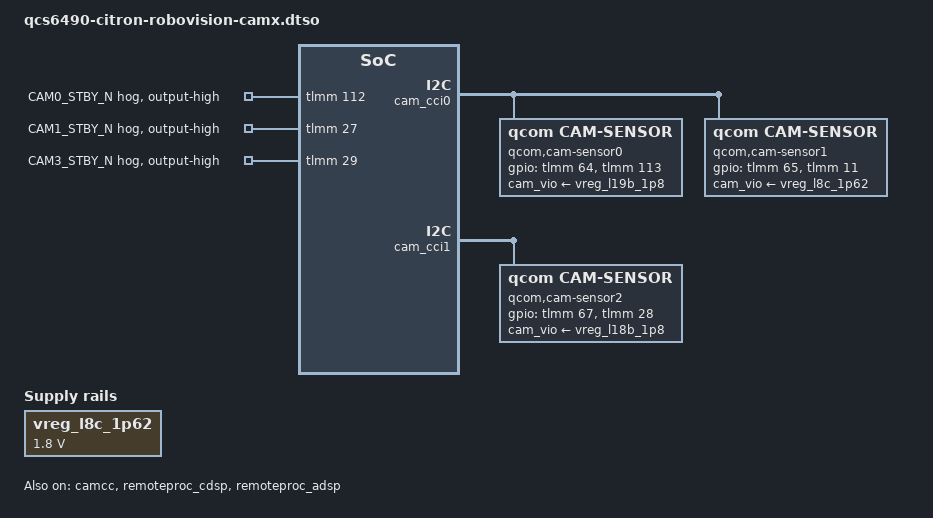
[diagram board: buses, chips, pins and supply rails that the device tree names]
// SPDX-License-Identifier: BSD-3-Clause
/*
 * Downstream CAMX (Spectra) pipeline for robovision. Sensor models come from the
 * userspace CAMX library, not DT, so every sensor is just "qcom,cam-sensor".
 *
 *   conn  sensor  CSIPHY  CCI master     MCLK  RST  STBY  rail
 *   CSI0  IMX577  0       cci0 master 0  64    113  112   vreg_l19b_1p8
 *   CSI1  OV9282  1       cci0 master 1  65    11   27    vreg_l8c
 *   CSI2  -
 *   CSI3  IMX477  3       cci1 master 1  67    28   29    vreg_l18b_1p8
 *
 * IMX477 still needs a camxlib imx477 module, which does not ship yet.
 * The SoC-common CAMX stack comes from qcs6490-camera.dtsi.
 */

/dts-v1/;
/plugin/;

#include <dt-bindings/clock/qcom,camcc-sc7280.h>
#include <dt-bindings/clock/qcom,gcc-sc7280.h>
#include <dt-bindings/gpio/gpio.h>
#include <dt-bindings/interconnect/qcom,sc7280.h>
#include <dt-bindings/interrupt-controller/arm-gic.h>
/* cam_cpas vdd-corners need RPMH_REGULATOR_LEVEL_*; an overlay compiles standalone,
 * so it cannot inherit the include through sc7280.dtsi. */
#include <dt-bindings/power/qcom,rpmhpd.h>

/* Camera clock controller; disabled on the SOM (qcs6490-citron-som.dtsi). */
&camcc {
	status = "okay";
};

/* Free the camera hardware from the mainline drivers; CAMX owns cci/csiphy/isp. */
&camss {
	status = "disabled";
};

&cci0 {
	status = "disabled";
};

/* CSI3 uses the CAMX cam_cci1, so free the mainline cci1 too. */
&cci1 {
	status = "disabled";
};

/*
 * CAMX offloads to the CDSP and its sensor stack uses the ADSP, both of which the
 * minimized SOM dtsi disables.
 */
&remoteproc_cdsp {
	firmware-name = "qcom/qcm6490/cdsp.mbn";
	status = "okay";
};

&remoteproc_adsp {
	firmware-name = "qcom/qcm6490/adsp.mbn";
	status = "okay";
};

/* Downstream CAMX SoC camera stack. */
#include "qcs6490-camera.dtsi"

/* CAMX runs its IQ nodes on the GPU. */
#include "qcs6490-gpu.dtsi"

/*
 * cam_res_mgr_gpio_request() dereferences this driver's global unconditionally, so
 * the node must exist or sensor open panics. No shared pins here, so a bare node.
 */
&soc {
	qcom,cam-res-mgr {
		compatible = "qcom,cam-res-mgr";
		status = "ok";
	};
};

/* MCLK0 already matches the SoC template; reset and STBY move to this board's pins. */
&cam_sensor_active_rst0 {
	mux {
		pins = "gpio113";
	};

	config {
		pins = "gpio113";
	};
};

&cam_sensor_suspend_rst0 {
	mux {
		pins = "gpio113";
	};

	config {
		pins = "gpio113";
	};
};

/* MCLK1 and the CCI0 master-1 pins already match the template; reset/STBY move. */
&cam_sensor_active_rst1 {
	mux {
		pins = "gpio11";
	};

	config {
		pins = "gpio11";
	};
};

&cam_sensor_suspend_rst1 {
	mux {
		pins = "gpio11";
	};

	config {
		pins = "gpio11";
	};
};

/* MCLK3 and the cci1 bus-3 pins already match the template; reset/STBY move. */
&cam_sensor_active_rst3 {
	mux {
		pins = "gpio28";
	};

	config {
		pins = "gpio28";
	};
};

&cam_sensor_suspend_rst3 {
	mux {
		pins = "gpio28";
	};

	config {
		pins = "gpio28";
	};
};

&tlmm {
	cam0_pwdn_hog: cam0-pwdn-hog {
		gpio-hog;
		gpios = <112 GPIO_ACTIVE_HIGH>;
		output-high;
		line-name = "CAM0_STBY_N";
	};

	/* No standby control on the module, so park STBY/PDN de-asserted. */
	cam1_pwdn_hog: cam1-pwdn-hog {
		gpio-hog;
		gpios = <27 GPIO_ACTIVE_HIGH>;
		output-high;
		line-name = "CAM1_STBY_N";
	};

	/* Likewise. */
	cam3_pwdn_hog: cam3-pwdn-hog {
		gpio-hog;
		gpios = <29 GPIO_ACTIVE_HIGH>;
		output-high;
		line-name = "CAM3_STBY_N";
	};
};

/* ov9282 enables supplies without setting a voltage; pin L8C to 1.8V. */
&vreg_l8c_1p62 {
	regulator-min-microvolt = <1800000>;
	regulator-max-microvolt = <1800000>;
};


&cam_cci0 {
	qcom,cam-sensor0 {
		cell-index = <0>;
		compatible = "qcom,cam-sensor";
		csiphy-sd-index = <0>;
		sensor-position-roll = <0>;
		sensor-position-pitch = <0>;
		sensor-position-yaw = <180>;

		/* Without the titan_top GDSC the MCLK branch gate is unpowered (rc -16). */
		power-domains = <&camcc CAM_CC_TITAN_TOP_GDSC>;

		/* Module self-regulates off one 1.8V rail. */
		cam_vio-supply = <&vreg_l19b_1p8>;
		regulator-names = "cam_vio";
		rgltr-cntrl-support;
		rgltr-min-voltage = <1800000>;
		rgltr-max-voltage = <1800000>;
		rgltr-load-current = <120000>;

		gpio-no-mux = <0>;
		pinctrl-names = "cam_default", "cam_suspend";
		pinctrl-0 = <&cam_sensor_mclk0_active &cam_sensor_active_rst0>;
		pinctrl-1 = <&cam_sensor_mclk0_suspend &cam_sensor_suspend_rst0>;
		gpios = <&tlmm 64 0>, <&tlmm 113 0>;
		gpio-reset = <1>;
		gpio-req-tbl-num = <0 1>;
		gpio-req-tbl-flags = <1 0>;
		gpio-req-tbl-label = "CAMIF_MCLK0", "CAM_RESET0";

		sensor-mode = <0>;
		cci-master = <0>;
		clocks = <&camcc CAM_CC_MCLK0_CLK>;
		clock-names = "cam_clk";
		clock-cntl-level = "nominal";
		clock-rates = <24000000>;

		status = "ok";
	};

	qcom,cam-sensor1 {
		cell-index = <1>;
		compatible = "qcom,cam-sensor";
		csiphy-sd-index = <1>;
		sensor-position-roll = <0>;
		sensor-position-pitch = <0>;
		sensor-position-yaw = <0>;

		/* Same GDSC reason as CSI0. */
		power-domains = <&camcc CAM_CC_TITAN_TOP_GDSC>;

		/* Module self-regulates off one 1.8V rail. */
		cam_vio-supply = <&vreg_l8c_1p62>;
		regulator-names = "cam_vio";
		rgltr-cntrl-support;
		rgltr-min-voltage = <1800000>;
		rgltr-max-voltage = <1800000>;
		rgltr-load-current = <120000>;

		gpio-no-mux = <0>;
		pinctrl-names = "cam_default", "cam_suspend";
		pinctrl-0 = <&cam_sensor_mclk1_active &cam_sensor_active_rst1>;
		pinctrl-1 = <&cam_sensor_mclk1_suspend &cam_sensor_suspend_rst1>;
		gpios = <&tlmm 65 0>, <&tlmm 11 0>;
		gpio-reset = <1>;
		gpio-req-tbl-num = <0 1>;
		gpio-req-tbl-flags = <1 0>;
		gpio-req-tbl-label = "CAMIF_MCLK1", "CAM_RESET1";

		sensor-mode = <0>;
		cci-master = <1>;
		clocks = <&camcc CAM_CC_MCLK1_CLK>;
		clock-names = "cam_clk";
		clock-cntl-level = "nominal";
		clock-rates = <24000000>;

		status = "ok";
	};
};


&cam_cci1 {
	qcom,cam-sensor2 {
		cell-index = <2>;
		compatible = "qcom,cam-sensor";
		csiphy-sd-index = <3>;
		sensor-position-roll = <0>;
		sensor-position-pitch = <0>;
		sensor-position-yaw = <0>;

		/* Same GDSC reason as CSI0. */
		power-domains = <&camcc CAM_CC_TITAN_TOP_GDSC>;

		/* Module self-regulates off one 1.8V rail. */
		cam_vio-supply = <&vreg_l18b_1p8>;
		regulator-names = "cam_vio";
		rgltr-cntrl-support;
		rgltr-min-voltage = <1800000>;
		rgltr-max-voltage = <1800000>;
		rgltr-load-current = <120000>;

		gpio-no-mux = <0>;
		pinctrl-names = "cam_default", "cam_suspend";
		pinctrl-0 = <&cam_sensor_mclk3_active &cam_sensor_active_rst3>;
		pinctrl-1 = <&cam_sensor_mclk3_suspend &cam_sensor_suspend_rst3>;
		gpios = <&tlmm 67 0>, <&tlmm 28 0>;
		gpio-reset = <1>;
		gpio-req-tbl-num = <0 1>;
		gpio-req-tbl-flags = <1 0>;
		gpio-req-tbl-label = "CAMIF_MCLK3", "CAM_RESET3";

		sensor-mode = <0>;
		cci-master = <1>;
		clocks = <&camcc CAM_CC_MCLK3_CLK>;
		clock-names = "cam_clk";
		clock-cntl-level = "nominal";
		clock-rates = <24000000>;

		status = "ok";
	};
};
